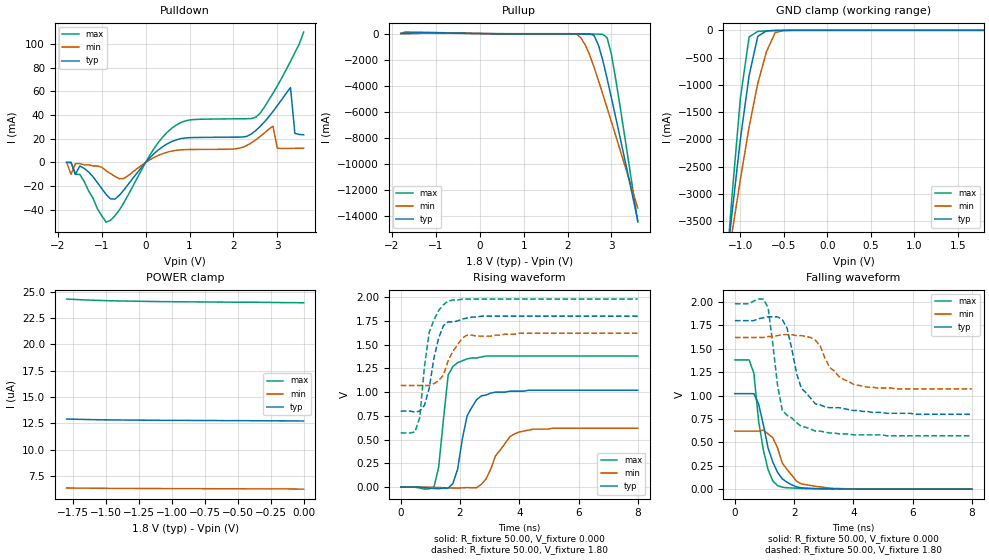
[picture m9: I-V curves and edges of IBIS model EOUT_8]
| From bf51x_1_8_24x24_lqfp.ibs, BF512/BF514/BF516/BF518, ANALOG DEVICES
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|   Model prwd0408swcdg_25
[Model]   EOUT_8
Model_type   I/O
Polarity   Non-Inverting
Enable   Active-Low
Vinl =   0.70V
Vinh =   1.00V
Vmeas =   1.20V
Cref =  50.00pF
Rref =   1.00M
Vref =  0.000V
C_comp   4.80pF   4.32pF   5.28pF
[Temperature Range]   25.00   0.12k   -40.00
[Voltage Range]   1.80V   1.62V   1.98V
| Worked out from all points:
|   slope of the pulldown table from 0 to 0.27 V, typ, clamps not added: 27.1 ohm
|   slope of the pullup table from 0 to 0.27 V, typ, clamps not added: 27 ohm
|   GND clamp passes 1 mA (typ) near -0.53 V on its own axis
|   rising waveform, R_fixture 50.00, V_fixture 0.000: 20-80 % time 430ps typ, 665ps min, 273ps max; typ from 0 V to 1.02 V
|   rising waveform, R_fixture 50.00, V_fixture 1.80: 20-80 % time 392ps typ, 503ps min, 368ps max; typ from 0.8 V to 1.8 V
|   falling waveform, R_fixture 50.00, V_fixture 0.000: 20-80 % time 537ps typ, 626ps min, 387ps max; typ from 1.02 V to 0 V
|   falling waveform, R_fixture 50.00, V_fixture 1.80: 20-80 % time 633ps typ, 722ps min, 374ps max; typ from 1.8 V to 0.8 V
[Pulldown]
| voltage   I(typ)   I(min)   I(max)
-1.8V     0A         0A         0A
-1.7V     0A         -10mA      0A
-1.6V     -10mA      -1mA       -10mA
-1.4V     -5mA       -2mA       -16mA
-800mV    -30.7mA    -9.3mA     -48.85mA
500mV     15.88mA    8.74mA     25.75mA
2.5V      26.68mA    18.82mA    37.97mA
2.9V      42.93mA    30.6mA     58.3mA
3V        47.87mA    11.94mA    64.6mA
3.3V      63.21mA    11.89mA    85.33mA
3.4V      24.54mA    11.92mA    92.66mA
3.6V      23.36mA    12.01mA    110mA
[Pullup]
| voltage   I(typ)   I(min)   I(max)
-1.8V     1.52mA     550uA      10.57mA
-1.6V     2.98mA     560uA      110mA
2.2V      -22.72mA   -39.81mA   -37.76mA
2.3V      -23.19mA   -310mA     -37.83mA
2.4V      -25.42mA   -850mA     -37.96mA
2.6V      -130mA     -2.54A     -42.68mA
2.7V      -850mA     -3.56A     -49.75mA
2.8V      -2.01A     -4.61A     -61.08mA
2.9V      -3.43A     -5.68A     -310mA
3V        -4.93A     -6.76A     -1.61A
3.1V      -6.46A     -7.85A     -3.55A
3.6V      -14.31A    -13.35A    -14.44A
[GND_clamp]
| voltage   I(typ)   I(min)   I(max)
-1.8V     -14.28A    -11.35A    -18.41A
-1.2V     -4.9A      -4.81A     -5.19A
-1.1V     -3.4A      -3.75A     -3.1A
-1V       -1.99A     -2.73A     -1.24A
-900mV    -830mA     -1.77A     -120mA
-800mV    -110mA     -970mA     -19.23mA
-700mV    -9.9mA     -390mA     -9.8mA
-600mV    -2.58mA    -42.88mA   -3.52mA
-500mV    -470uA     -4.39mA    -570uA
1.8V      12.72uA    6.27uA     23.92uA
[POWER_clamp]
| voltage   I(typ)   I(min)   I(max)
-1.8V     12.91uA    6.36uA     24.3uA
-1.7V     12.88uA    6.35uA     24.24uA
-1.6V     12.85uA    6.34uA     24.19uA
-1.5V     12.83uA    6.33uA     24.15uA
-1.4V     12.82uA    6.32uA     24.12uA
-1.1V     12.79uA    6.31uA     24.06uA
-1V       12.78uA    6.3uA      24.05uA
-500mV    12.76uA    6.29uA     24uA
-400mV    12.75uA    6.28uA     24uA
-300mV    12.74uA    6.28uA     23.99uA
-200mV    12.74uA    6.28uA     23.97uA
0V        12.72uA    6.25uA     23.95uA
[Ramp]
| variable   typ   min   max
dV/dt_r   0.61/0.48n   0.37/0.67n   0.83/0.28n
dV/dt_f   0.60/0.65n   0.33/0.73n   0.84/0.37n
R_load = 50.00
[Rising Waveform]
R_fixture = 50.00
V_fixture = 0.000
V_fixture_min = 0.000
V_fixture_max = 0.000
L_fixture = 0.000H
C_fixture = 0.000F
| time   V(typ)   V(min)   V(max)
0s        0V         0V         0V
1.12ns    -15.47mV   -2.64mV    -1.93mV
1.28ns    -16.61mV   -4.26mV    210mV
1.6ns     -11.54mV   -8.41mV    1.18V
1.92ns    190mV      -10.98mV   1.31V
2.24ns    750mV      -5.47mV    1.35V
2.72ns    960mV      29.08mV    1.37V
3.2ns     1V         330mV      1.38V
4ns       1.01V      580mV      1.38V
8ns       1.02V      620mV      1.38V
[Rising Waveform]
R_fixture = 50.00
V_fixture = 1.80
V_fixture_min = 1.62
V_fixture_max = 1.98
L_fixture = 0.000H
C_fixture = 0.000F
| time   V(typ)   V(min)   V(max)
0s        800mV      1.07V      570mV
480ps     790mV      1.07V      580mV
640ps     800mV      1.07V      730mV
800ps     860mV      1.07V      1.27V
960ps     1.04V      1.07V      1.63V
1.12ns    1.36V      1.09V      1.76V
1.28ns    1.57V      1.12V      1.86V
1.6ns     1.74V      1.33V      1.96V
2.24ns    1.78V      1.6V       1.98V
8ns       1.8V       1.62V      1.98V
[Falling Waveform]
R_fixture = 50.00
V_fixture = 0.000
V_fixture_min = 0.000
V_fixture_max = 0.000
L_fixture = 0.000H
C_fixture = 0.000F
| time   V(typ)   V(min)   V(max)
0s        1.02V      620mV      1.38V
480ps     1.02V      620mV      1.38V
640ps     1.02V      620mV      1.24V
800ps     910mV      620mV      730mV
960ps     690mV      630mV      420mV
1.12ns    440mV      590mV      210mV
1.44ns    180mV      440mV      38.73mV
1.6ns     110mV      280mV      21.05mV
2.24ns    15.22mV    56.7mV     6.95mV
8ns       40.94uV    76.23uV    5.08uV
[Falling Waveform]
R_fixture = 50.00
V_fixture = 1.80
V_fixture_min = 1.62
V_fixture_max = 1.98
L_fixture = 0.000H
C_fixture = 0.000F
| time   V(typ)   V(min)   V(max)
0s        1.8V       1.62V      1.98V
1.12ns    1.84V      1.63V      1.94V
1.44ns    1.84V      1.64V      1.11V
1.6ns     1.81V      1.65V      840mV
1.76ns    1.72V      1.65V      790mV
2.24ns    1.08V      1.64V      670mV
2.72ns    910mV      1.59V      620mV
3.2ns     870mV      1.3V       600mV
4ns       840mV      1.12V      580mV
8ns       800mV      1.07V      570mV
